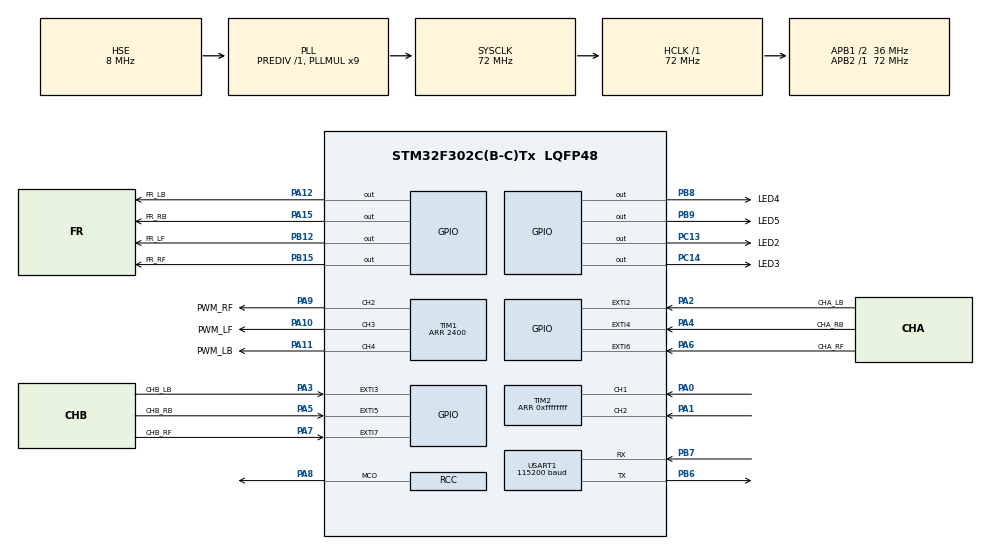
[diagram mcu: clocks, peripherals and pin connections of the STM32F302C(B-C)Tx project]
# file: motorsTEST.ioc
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Mcu.Family=STM32F3
Mcu.Name=STM32F302C(B-C)Tx
Mcu.Package=LQFP48
Mcu.UserConstants=MAX_PWM,2400
NVIC.PriorityGroup=NVIC_PRIORITYGROUP_4
NVIC.TIM1_UP_TIM16_IRQn=true\:0\:0\:false\:false\:true\:true
NVIC.TIM4_IRQn=true\:0\:0\:false\:false\:true\:true
NVIC.USART1_IRQn=true\:0\:0\:false\:false\:true\:true
PA0.Signal=S_TIM2_CH1_ETR
PA1.Signal=S_TIM2_CH2
PA10.GPIO_Label=PWM_LF
PA10.Signal=S_TIM1_CH3
PA11.GPIO_Label=PWM_LB
PA11.Signal=S_TIM1_CH4
PA12.GPIO_Label=FR_LB
PA12.Signal=GPIO_Output
PA13.Mode=Serial_Wire
PA13.Signal=SYS_JTMS-SWDIO
PA14.Mode=Serial_Wire
PA14.Signal=SYS_JTCK-SWCLK
PA15.GPIO_Label=FR_RB
PA15.Signal=GPIO_Output
PA2.GPIO_Label=CHA_LB
PA2.GPIO_ModeDefaultEXTI=GPIO_MODE_IT_RISING_FALLING
PA2.GPIO_PuPd=GPIO_NOPULL
PA2.Signal=GPXTI2
PA3.GPIO_Label=CHB_LB
PA3.GPIO_ModeDefaultEXTI=GPIO_MODE_IT_RISING_FALLING
PA3.GPIO_PuPd=GPIO_NOPULL
PA3.Signal=GPXTI3
PA4.GPIO_Label=CHA_RB
PA4.GPIO_ModeDefaultEXTI=GPIO_MODE_IT_RISING_FALLING
PA4.GPIO_PuPd=GPIO_NOPULL
PA4.Signal=GPXTI4
PA5.GPIO_Label=CHB_RB
PA5.GPIO_ModeDefaultEXTI=GPIO_MODE_IT_RISING_FALLING
PA5.GPIO_PuPd=GPIO_NOPULL
PA5.Signal=GPXTI5
PA6.GPIO_Label=CHA_RF
PA6.GPIO_ModeDefaultEXTI=GPIO_MODE_IT_RISING_FALLING
PA6.GPIO_PuPd=GPIO_NOPULL
PA6.Signal=GPXTI6
PA7.GPIO_Label=CHB_RF
PA7.GPIO_ModeDefaultEXTI=GPIO_MODE_IT_RISING_FALLING
PA7.GPIO_PuPd=GPIO_NOPULL
PA7.Signal=GPXTI7
PA8.GPIO_Speed=GPIO_SPEED_FREQ_HIGH
PA8.Mode=Clock-out
PA8.Signal=RCC_MCO
PA9.GPIO_Label=PWM_RF
PA9.Signal=S_TIM1_CH2
PB12.GPIO_Label=FR_LF
PB12.Signal=GPIO_Output
PB15.GPIO_Label=FR_RF
PB15.Signal=GPIO_Output
PB6.Mode=Asynchronous
PB6.Signal=USART1_TX
PB7.Mode=Asynchronous
PB7.Signal=USART1_RX
PB8.GPIO_Label=LED4
PB8.Signal=GPIO_Output
PB9.GPIO_Label=LED5
PB9.Signal=GPIO_Output
PC13.GPIO_Label=LED2
PC13.Signal=GPIO_Output
PC14-OSC32_IN.GPIO_Label=LED3
PC14-OSC32_IN.Signal=GPIO_Output
PF0-OSC_IN.Mode=HSE-External-Oscillator
PF0-OSC_IN.Signal=RCC_OSC_IN
PF1-OSC_OUT.Mode=HSE-External-Oscillator
PF1-OSC_OUT.Signal=RCC_OSC_OUT
ProjectManager.HeapSize=0x200
ProjectManager.StackSize=0x400
ProjectManager.TargetToolchain=SW4STM32
RCC.AHBFreq_Value=72000000
RCC.APB1CLKDivider=RCC_HCLK_DIV2
RCC.APB1Freq_Value=36000000
RCC.APB1TimFreq_Value=72000000
RCC.APB2Freq_Value=72000000
RCC.APB2TimFreq_Value=72000000
RCC.CortexFreq_Value=72000000
RCC.HCLKFreq_Value=72000000
RCC.HSE_VALUE=8000000
RCC.HSI_VALUE=8000000
RCC.LSE_VALUE=32768
RCC.PLLMUL=RCC_PLL_MUL9
RCC.PLLSourceVirtual=RCC_PLLSOURCE_HSE
RCC.SYSCLKFreq_VALUE=72000000
RCC.SYSCLKSourceVirtual=RCC_SYSCLKSOURCE_PLLCLK
RCC.USBFreq_Value=72000000
SH.S_TIM1_CH2.0=TIM1_CH2,PWM Generation2 CH2
SH.S_TIM1_CH3.0=TIM1_CH3,PWM Generation3 CH3
SH.S_TIM1_CH4.0=TIM1_CH4,PWM Generation4 CH4
SH.S_TIM2_CH1_ETR.0=TIM2_CH1,Encoder_Interface
SH.S_TIM2_CH2.0=TIM2_CH2,Encoder_Interface
TIM1.Channel-PWM\ Generation2\ CH2=TIM_CHANNEL_2
TIM1.Channel-PWM\ Generation3\ CH3=TIM_CHANNEL_3
TIM1.Channel-PWM\ Generation4\ CH4=TIM_CHANNEL_4
TIM1.Period=2400
TIM2.Period=0xffffffff
TIM4.Period=10000
TIM4.Prescaler=71
USART1.BaudRate=115200
USART1.SwapParam=ADVFEATURE_SWAP_ENABLE
USART1.VirtualMode-Asynchronous=VM_ASYNC
VP_TIM4_VS_ClockSourceINT.Mode=Internal
board=motorsTEST

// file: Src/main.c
/**
  ******************************************************************************
  * @file           : main.c
  * @brief          : Main program body
  ******************************************************************************
  ** This notice applies to any and all portions of this file
  * that are not between comment pairs USER CODE BEGIN and
  * USER CODE END. Other portions of this file, whether
  * inserted by the user or by software development tools
  * are owned by their respective copyright owners.
  *
  * COPYRIGHT(c) 2018 STMicroelectronics
  *
  * Redistribution and use in source and binary forms, with or without modification,
  * are permitted provided that the following conditions are met:
  *   1. Redistributions of source code must retain the above copyright notice,
  *      this list of conditions and the following disclaimer.
  *   2. Redistributions in binary form must reproduce the above copyright notice,
  *      this list of conditions and the following disclaimer in the documentation
  *      and/or other materials provided with the distribution.
  *   3. Neither the name of STMicroelectronics nor the names of its contributors
  *      may be used to endorse or promote products derived from this software
  *      without specific prior written permission.
  *
  * THIS SOFTWARE IS PROVIDED BY THE COPYRIGHT HOLDERS AND CONTRIBUTORS "AS IS"
  * AND ANY EXPRESS OR IMPLIED WARRANTIES, INCLUDING, BUT NOT LIMITED TO, THE
  * IMPLIED WARRANTIES OF MERCHANTABILITY AND FITNESS FOR A PARTICULAR PURPOSE ARE
  * DISCLAIMED. IN NO EVENT SHALL THE COPYRIGHT HOLDER OR CONTRIBUTORS BE LIABLE
  * FOR ANY DIRECT, INDIRECT, INCIDENTAL, SPECIAL, EXEMPLARY, OR CONSEQUENTIAL
  * DAMAGES (INCLUDING, BUT NOT LIMITED TO, PROCUREMENT OF SUBSTITUTE GOODS OR
  * SERVICES; LOSS OF USE, DATA, OR PROFITS; OR BUSINESS INTERRUPTION) HOWEVER
  * CAUSED AND ON ANY THEORY OF LIABILITY, WHETHER IN CONTRACT, STRICT LIABILITY,
  * OR TORT (INCLUDING NEGLIGENCE OR OTHERWISE) ARISING IN ANY WAY OUT OF THE USE
  * OF THIS SOFTWARE, EVEN IF ADVISED OF THE POSSIBILITY OF SUCH DAMAGE.
  *
  ******************************************************************************
  */
#include "main.h"
#include "stm32f3xx_hal.h"
#include "tim.h"
#include "usart.h"
#include "gpio.h"

/* USER CODE BEGIN Includes */
#include "PuttyInterface/PuttyInterface.h"
#include <math.h>
#include <stdlib.h>
/* USER CODE END Includes */

/* USER CODE BEGIN PV */
/* Private variables ---------------------------------------------------------*/

PuttyInterfaceTypeDef puttystruct;
/* USER CODE END PV */

void SystemClock_Config(void);

/* USER CODE BEGIN PFP */
/* Private function prototypes -----------------------------------------------*/

/* USER CODE END PFP */

void HandleCommand(char* input);
void ControlMotor(float duty_cycle);

int main(void)
{

  /* MCU Configuration----------------------------------------------------------*/

  /* Reset of all peripherals, Initializes the Flash interface and the Systick. */
  HAL_Init();

  /* Configure the system clock */
  SystemClock_Config();

  /* Initialize all configured peripherals */
  MX_GPIO_Init();
  MX_TIM1_Init();
  MX_USART1_UART_Init();
  MX_TIM4_Init();
  MX_TIM2_Init();
  /* USER CODE BEGIN 2 */
  puttystruct.handle = HandleCommand;
  PuttyInterface_Init(&puttystruct);

  HAL_TIM_Encoder_Start(&htim2, TIM_CHANNEL_ALL);
  HAL_TIM_PWM_Start(&htim1,TIM_CHANNEL_2);
  HAL_TIM_PWM_Start(&htim1,TIM_CHANNEL_3);
  HAL_TIM_PWM_Start(&htim1,TIM_CHANNEL_4);
  HAL_TIM_Base_Start_IT(&htim4);

  ControlMotor( .5);
  /* USER CODE END 2 */

  /* Infinite loop */
  /* USER CODE BEGIN WHILE */
  while (1)
  {

	  if(!(HAL_GetTick() % 100)){
		  uprintf("encoder value = [%d]\n\r", (int)__HAL_TIM_GET_COUNTER(&htim2));
		  __HAL_TIM_SET_COUNTER(&htim2, 0);
	  }
  /* USER CODE END WHILE */

  /* USER CODE BEGIN 3 */
	  PuttyInterface_Update(&puttystruct);
  }
  /* USER CODE END 3 */

}

void SystemClock_Config(void)
{

  RCC_OscInitTypeDef RCC_OscInitStruct;
  RCC_ClkInitTypeDef RCC_ClkInitStruct;
  RCC_PeriphCLKInitTypeDef PeriphClkInit;

    /**Initializes the CPU, AHB and APB busses clocks
    */
  RCC_OscInitStruct.OscillatorType = RCC_OSCILLATORTYPE_HSE;
  RCC_OscInitStruct.HSEState = RCC_HSE_ON;
  RCC_OscInitStruct.HSEPredivValue = RCC_HSE_PREDIV_DIV1;
  RCC_OscInitStruct.HSIState = RCC_HSI_ON;
  RCC_OscInitStruct.PLL.PLLState = RCC_PLL_ON;
  RCC_OscInitStruct.PLL.PLLSource = RCC_PLLSOURCE_HSE;
  RCC_OscInitStruct.PLL.PLLMUL = RCC_PLL_MUL9;
  if (HAL_RCC_OscConfig(&RCC_OscInitStruct) != HAL_OK)
  {
    _Error_Handler(__FILE__, __LINE__);
  }

    /**Initializes the CPU, AHB and APB busses clocks
    */
  RCC_ClkInitStruct.ClockType = RCC_CLOCKTYPE_HCLK|RCC_CLOCKTYPE_SYSCLK
                              |RCC_CLOCKTYPE_PCLK1|RCC_CLOCKTYPE_PCLK2;
  RCC_ClkInitStruct.SYSCLKSource = RCC_SYSCLKSOURCE_PLLCLK;
  RCC_ClkInitStruct.AHBCLKDivider = RCC_SYSCLK_DIV1;
  RCC_ClkInitStruct.APB1CLKDivider = RCC_HCLK_DIV2;
  RCC_ClkInitStruct.APB2CLKDivider = RCC_HCLK_DIV1;

  if (HAL_RCC_ClockConfig(&RCC_ClkInitStruct, FLASH_LATENCY_2) != HAL_OK)
  {
    _Error_Handler(__FILE__, __LINE__);
  }

  PeriphClkInit.PeriphClockSelection = RCC_PERIPHCLK_USART1|RCC_PERIPHCLK_TIM1;
  PeriphClkInit.Usart1ClockSelection = RCC_USART1CLKSOURCE_PCLK2;
  PeriphClkInit.Tim1ClockSelection = RCC_TIM1CLK_HCLK;
  if (HAL_RCCEx_PeriphCLKConfig(&PeriphClkInit) != HAL_OK)
  {
    _Error_Handler(__FILE__, __LINE__);
  }

  HAL_RCC_MCOConfig(RCC_MCO, RCC_MCO1SOURCE_SYSCLK, RCC_MCODIV_1);

    /**Configure the Systick interrupt time
    */
  HAL_SYSTICK_Config(HAL_RCC_GetHCLKFreq()/1000);

    /**Configure the Systick
    */
  HAL_SYSTICK_CLKSourceConfig(SYSTICK_CLKSOURCE_HCLK);

  /* SysTick_IRQn interrupt configuration */
  HAL_NVIC_SetPriority(SysTick_IRQn, 0, 0);
}

/* USER CODE BEGIN 4 */
void HandleCommand(char* input){
	if(!strcmp(input, "start")){
		uprintf("started;>)\n\r");
	}else if(!strcmp(input, "stop")){
		uprintf("stopped\n\r");
	}else if(memcmp(input, "control", 7)){
		ControlMotor(atof(input+8));
	}
}
//!! function gets called from usbd_cdc_if but needs to be added there in both c and h file if uart is used include this function"
void HAL_UART_RxCpltCallback(UART_HandleTypeDef *huart){
	HAL_GPIO_TogglePin(LED2_GPIO_Port, LED2_Pin);
	if(huart->Instance == huart1.Instance){
		puttystruct.huart2_Rx_len = 1;
		puttystruct.small_buf[0] = *(huart->pRxBuffPtr-1);
	}
}
void ControlMotor(float duty_cycle){
	bool FR = duty_cycle > 0;
	duty_cycle = fabs(duty_cycle);
	if(duty_cycle > 1){
		duty_cycle = 1;
	}
	uint CMP = (duty_cycle*MAX_PWM);
	__HAL_TIM_SET_COMPARE(&htim1, TIM_CHANNEL_ALL, CMP);
	HAL_GPIO_WritePin(FR_LF_GPIO_Port, FR_LF_Pin, FR);
	uprintf("dutycycle = [%d]\n\r", CMP);
}
/* USER CODE END 4 */

void _Error_Handler(char *file, int line)
{
  while(1)
  {
  }
}

/************************ (C) COPYRIGHT STMicroelectronics *****END OF FILE****/
